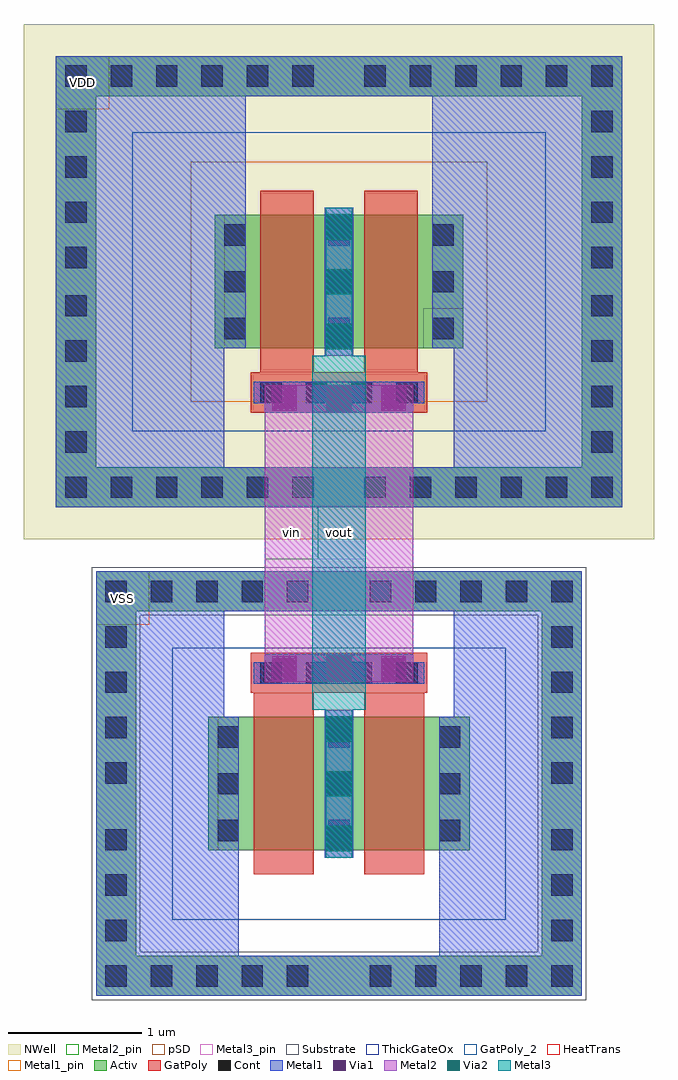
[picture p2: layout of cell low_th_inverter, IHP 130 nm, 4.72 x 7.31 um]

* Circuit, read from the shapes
.subckt low_th_inverter VDD VSS vin vout
XM1 vout vin VSS VSS sg13_hv_nmos w=1u l=0.45u m=2
XM2 vout vin VDD VDD sg13_hv_pmos w=1u l=0.4u m=2
.ends

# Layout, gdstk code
from math import pi, radians
import gdstk
lib = gdstk.Library(unit=1e-6, precision=1e-09)
def R(c, l, rs):  # rectangles x0, y0, x1, y1
    for r in rs: c.add(gdstk.rectangle(r[:2], r[2:], *l))
def A(c, l, x, y, w, h, nx, ny, dx, dy):  # array of equal rectangles
    R(c, l, [(x+i*dx, y+j*dy, x+i*dx+w, y+j*dy+h) for i in range(nx) for j in range(ny)])
def P(c, l, *ps):  # polygons
    for p in ps: c.add(gdstk.Polygon(p, *l))
Activ = (1, 0)
GatPoly = (5, 0)
GatPoly_2 = (5, 2)
Cont = (6, 0)
Metal1 = (8, 0)
Metal1_pin = (8, 2)
Metal2 = (10, 0)
Metal2_pin = (10, 2)
pSD = (14, 0)
Via1 = (19, 0)
Via2 = (29, 0)
Metal3 = (30, 0)
Metal3_pin = (30, 2)
NWell = (31, 0)
Substrate = (40, 0)
ThickGateOx = (44, 0)
HeatTrans = (51, 0)

via_stack_9 = lib.new_cell('via_stack$9')
R(via_stack_9, Metal1, [(-0.555,-0.105,0.555,0.105)])
R(via_stack_9, Metal2, [(-0.555,-0.1,0.555,0.1)])
A(via_stack_9, Via1, -0.505, -0.095, 0.19, 0.19, 3, 1, 0.41, 0)
A(via_stack_9, Via2, -0.505, -0.095, 0.19, 0.19, 3, 1, 0.41, 0)
R(via_stack_9, Metal3, [(-0.555,-0.1,0.555,0.1)])

via_stack_2_2 = lib.new_cell('via_stack$2$2')
R(via_stack_2_2, GatPoly, [(-0.15,-0.66,0.15,0.66)])
A(via_stack_2_2, Cont, -0.08, -0.59, 0.16, 0.16, 1, 4, 0, 0.34)
R(via_stack_2_2, Metal1, [(-0.08,-0.64,0.08,0.64)])

via_stack_4_1 = lib.new_cell('via_stack$4$1')
R(via_stack_4_1, Metal1, [(-0.105,-0.555,0.105,0.555)])
R(via_stack_4_1, Metal2, [(-0.1,-0.555,0.1,0.555)])
A(via_stack_4_1, Via1, -0.095, -0.505, 0.19, 0.19, 1, 3, 0, 0.41)

pmoshv_3 = lib.new_cell('pmosHV$3')
A(pmoshv_3, Activ, 0, 0, 0.3, 0.3, 3, 1, 0.78, 0)
R(pmoshv_3, Activ, [(-1.19,-0.89,-0.89,1.89), (2.75,-0.89,3.05,1.89), (0,0,1.86,1), (-1.19,1.89,3.05,2.19)])
P(pmoshv_3, Activ, [(-1.19,-1.19),(-1.19,1.89),(-0.89,1.89),(-0.89,-0.89),(2.75,-0.89),(2.75,1.89),(-1.19,1.89),(-1.19,2.19),(3.05,2.19),(3.05,-1.19)])
R(pmoshv_3, GatPoly, [(0.34,-0.18,0.74,1.18), (1.12,-0.18,1.52,1.18)])
R(pmoshv_3, GatPoly_2, [(0.34,-0.18,0.74,1.18)])
A(pmoshv_3, Cont, -1.12, -1.12, 0.16, 0.16, 6, 2, 0.34, 3.08)
A(pmoshv_3, Cont, 1.12, -1.12, 0.16, 0.16, 6, 2, 0.34, 3.08)
A(pmoshv_3, Cont, -1.12, -0.78, 0.16, 0.16, 1, 4, 0, 0.34)
A(pmoshv_3, Cont, 2.82, -0.78, 0.16, 0.16, 1, 4, 0, 0.34)
A(pmoshv_3, Cont, 0.07, 0.07, 0.16, 0.16, 3, 3, 0.78, 0.35)
A(pmoshv_3, Cont, -1.12, 0.6, 0.16, 0.16, 1, 4, 0, 0.34)
A(pmoshv_3, Cont, 2.82, 0.6, 0.16, 0.16, 1, 4, 0, 0.34)
A(pmoshv_3, Metal1, 0.07, 0, 0.16, 1, 3, 1, 0.78, 0)
R(pmoshv_3, Metal1, [(-1.19,-1.19,3.05,-0.89), (-1.19,-0.89,-0.89,1.89), (2.75,-0.89,3.05,1.89), (-1.19,1.89,3.05,2.19)])
R(pmoshv_3, Metal1_pin, [(0.07,0,0.23,1), (0.85,0,1.01,1)])
R(pmoshv_3, pSD, [(-0.18,-0.4,2.04,1.4)])
R(pmoshv_3, NWell, [(-1.43,-1.43,3.29,2.43), (-0.62,-0.62,2.48,1.62)])
R(pmoshv_3, Substrate, [(1.56,0,1.86,0.3)])
R(pmoshv_3, ThickGateOx, [(-0.62,-0.62,2.48,1.62)])
R(pmoshv_3, HeatTrans, [(0.34,-0.18,0.74,1.18), (1.12,-0.18,1.52,1.18)])
pmoshv_3.add(gdstk.Label('pmosHV', (0.54,0.5), layer=63, texttype=0))
pmoshv_3.add(gdstk.Label('well', (0.93,-1.04), layer=63, texttype=0))
pmoshv_3.add(gdstk.Label('pmos', (0.54,0.5), layer=51, texttype=0))
pmoshv_3.add(gdstk.Label('pmos', (1.32,0.5), layer=51, texttype=0))

nmoshv_3 = lib.new_cell('nmosHV$3')
A(nmoshv_3, Activ, 0, 0, 0.3, 0.3, 3, 1, 0.83, 0)
R(nmoshv_3, Activ, [(-0.84,-0.79,-0.54,1.79), (2.5,-0.79,2.8,1.79), (0,0,1.96,1), (-0.84,1.79,2.8,2.09)])
P(nmoshv_3, Activ, [(-0.84,-1.09),(-0.84,1.79),(-0.54,1.79),(-0.54,-0.79),(2.5,-0.79),(2.5,1.79),(-0.84,1.79),(-0.84,2.09),(2.8,2.09),(2.8,-1.09)])
R(nmoshv_3, GatPoly, [(0.34,-0.18,0.79,1.18), (1.17,-0.18,1.62,1.18)])
R(nmoshv_3, GatPoly_2, [(0.34,-0.18,0.79,1.18)])
A(nmoshv_3, Cont, -0.77, -1.02, 0.16, 0.16, 5, 2, 0.34, 2.88)
A(nmoshv_3, Cont, 1.21, -1.02, 0.16, 0.16, 5, 2, 0.34, 2.88)
A(nmoshv_3, Cont, -0.77, -0.68, 0.16, 0.16, 1, 3, 0, 0.34)
A(nmoshv_3, Cont, 2.57, -0.68, 0.16, 0.16, 1, 3, 0, 0.34)
A(nmoshv_3, Cont, 0.07, 0.07, 0.16, 0.16, 3, 3, 0.83, 0.35)
A(nmoshv_3, Cont, -0.77, 0.5, 0.16, 0.16, 1, 4, 0, 0.34)
A(nmoshv_3, Cont, 2.57, 0.5, 0.16, 0.16, 1, 4, 0, 0.34)
A(nmoshv_3, Metal1, 0.07, 0, 0.16, 1, 3, 1, 0.83, 0)
R(nmoshv_3, Metal1, [(-0.84,-1.09,2.8,-0.79), (-0.84,-0.79,-0.54,1.79), (2.5,-0.79,2.8,1.79), (-0.84,1.79,2.8,2.09)])
R(nmoshv_3, Metal1_pin, [(0.07,0,0.23,1), (0.9,0,1.06,1)])
R(nmoshv_3, pSD, [(-0.87,-0.76,-0.51,1.76), (2.47,-0.76,2.83,1.76), (-0.87,1.76,2.83,2.12)])
P(nmoshv_3, pSD, [(-0.87,-1.12),(-0.87,1.76),(-0.51,1.76),(-0.51,-0.76),(2.47,-0.76),(2.47,1.76),(-0.87,1.76),(-0.87,2.12),(2.83,2.12),(2.83,-1.12)])
R(nmoshv_3, Substrate, [(-0.87,-0.76,-0.51,1.76), (2.47,-0.76,2.83,1.76), (-0.87,1.76,2.83,2.12)])
P(nmoshv_3, Substrate, [(-0.87,-1.12),(-0.87,1.76),(-0.51,1.76),(-0.51,-0.76),(2.47,-0.76),(2.47,1.76),(-0.87,1.76),(-0.87,2.12),(2.83,2.12),(2.83,-1.12)])
R(nmoshv_3, ThickGateOx, [(-0.27,-0.52,2.23,1.52)])
R(nmoshv_3, HeatTrans, [(0.34,-0.18,0.79,1.18), (1.17,-0.18,1.62,1.18)])
nmoshv_3.add(gdstk.Label('nmosHV', (0.565,0.5), layer=63, texttype=0))
nmoshv_3.add(gdstk.Label('sub!', (0.98,-0.94), layer=63, texttype=0))
nmoshv_3.add(gdstk.Label('nmosHV', (0.565,0.5), layer=51, texttype=0))
nmoshv_3.add(gdstk.Label('nmosHV', (1.395,0.5), layer=51, texttype=0))

low_th_inverter = lib.new_cell('low_th_inverter')
R(low_th_inverter, Metal1, [(-1.52,-3.12,-0.75,-1.33), (0.75,-3.12,1.52,-1.33), (-1.52,-1.33,-0.86,-0.54), (0.86,-1.33,1.52,-0.54), (-1.82,0.54,-0.86,1.43), (0.86,0.54,1.82,1.43), (-1.82,1.43,-0.7,3.32), (0.7,1.43,1.82,3.32)])
R(low_th_inverter, Metal1_pin, [(-1.82,-0.64,-1.42,-0.24), (-2.12,3.22,-1.72,3.62)])
R(low_th_inverter, Metal2, [(-0.555,-0.875,0.555,0.975)])
R(low_th_inverter, Metal2_pin, [(-0.555,-0.15,-0.155,0.25)])
R(low_th_inverter, Metal3_pin, [(-0.2,-0.15,0.2,0.25)])
low_th_inverter.add(gdstk.FlexPath([(0,1.375),(0,-1.275)], 0.4, ends="flush", simple_path=True, layer=30, datatype=0))  # Metal3
low_th_inverter.add(gdstk.Reference(via_stack_9, (0,1.93), rotation=pi/2))
low_th_inverter.add(gdstk.Reference(via_stack_9, (0,-1.83), rotation=pi/2))
low_th_inverter.add(gdstk.Reference(via_stack_2_2, (0,1.1), rotation=pi/2))
low_th_inverter.add(gdstk.Reference(via_stack_2_2, (0,-1), rotation=pi/2))
low_th_inverter.add(gdstk.Reference(via_stack_4_1, (0,-0.965), rotation=pi/2))
low_th_inverter.add(gdstk.Reference(via_stack_4_1, (0,1.055), rotation=pi/2))
low_th_inverter.add(gdstk.Reference(pmoshv_3, (-0.93,1.43)))
low_th_inverter.add(gdstk.Reference(nmoshv_3, (-0.98,-2.33)))
low_th_inverter.add(gdstk.Label('VDD', (-1.92,3.42), layer=8, texttype=25))
low_th_inverter.add(gdstk.Label('VSS', (-1.62,-0.44), layer=8, texttype=25))
low_th_inverter.add(gdstk.Label('vin', (-0.355,0.05), layer=10, texttype=25))
low_th_inverter.add(gdstk.Label('vout', (0,0.05), layer=30, texttype=25))

lib.write_gds('low_th_inverter.gds')
